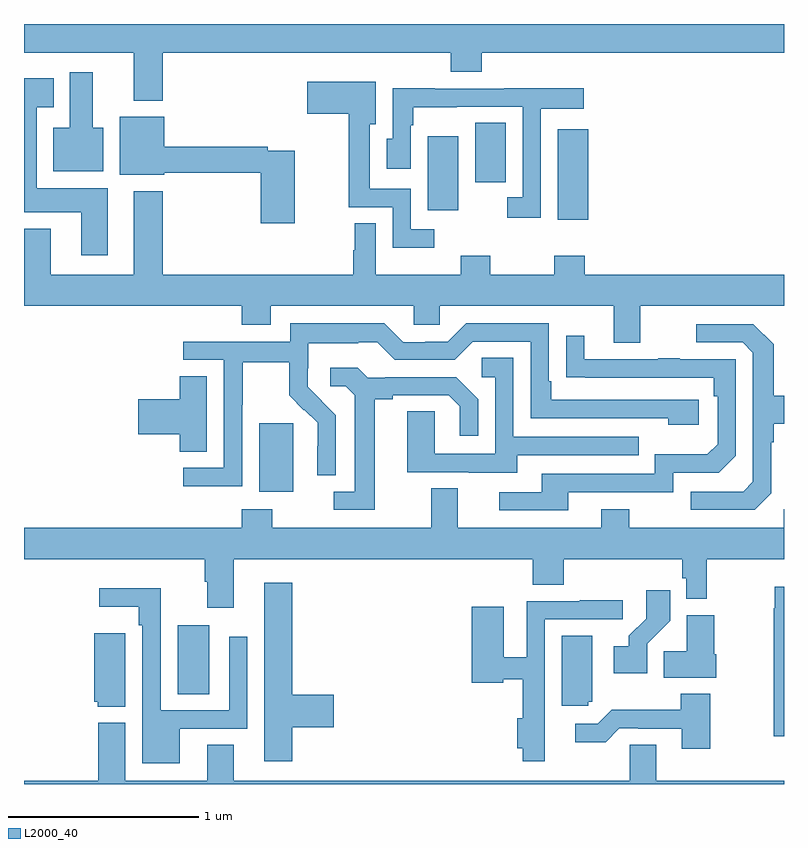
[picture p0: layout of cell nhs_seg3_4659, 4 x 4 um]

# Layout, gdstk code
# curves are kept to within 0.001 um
import gdstk
lib = gdstk.Library(unit=1e-6, precision=1e-09)
def R(c, l, rs):  # rectangles x0, y0, x1, y1
    for r in rs: c.add(gdstk.rectangle(r[:2], r[2:], *l))
def P(c, l, *ps):  # polygons
    for p in ps: c.add(gdstk.Polygon(p, *l))
L2000_40 = (2000, 40)

nhs_seg3_4659 = lib.new_cell('nhs_seg3_4659')
R(nhs_seg3_4659, L2000_40, [(361.808,698.872,361.975,699.235), (362.237,699.938,362.416,700.299), (363.809,701.37,363.97,701.845), (363.125,701.42,363.286,701.809), (363.374,701.568,363.535,701.879)])
P(nhs_seg3_4659, L2000_40, [(361.73,702.248),(363.245,702.248),(363.245,702.149),(363.41,702.149),(363.41,702.248),(365,702.248),(365,702.4),(361,702.4),(361,702.248),(361.577,702.248),(361.577,701.996),(361.73,701.996)],
  [(361.417,701.854),(361.363,701.854),(361.363,702.145),(361.241,702.145),(361.241,701.854),(361.154,701.854),(361.154,701.624),(361.417,701.624)],
  [(361.441,701.536),(361.066,701.536),(361.066,701.963),(361.156,701.963),(361.156,702.115),(361,702.115),(361,701.408),(361.301,701.408),(361.301,701.184),(361.441,701.184)],
  [(363.16,701.319),(363.036,701.319),(363.036,701.532),(362.821,701.532),(362.821,701.873),(362.851,701.873),(362.851,702.097),(362.49,702.097),(362.49,701.927),(362.71,701.927),(362.71,701.436),(362.94,701.436),(362.94,701.222),(363.16,701.222)],
  [(363.72,701.954),(363.946,701.954),(363.946,702.062),(363.527,702.062),(363.527,702.06),(363.161,702.06),(363.161,702.062),(362.94,702.062),(362.94,701.796),(362.909,701.796),(362.909,701.637),(363.036,701.637),(363.036,701.867),(363.049,701.867),(363.049,701.963),(363.278,701.963),(363.278,701.964),(363.624,701.964),(363.624,701.487),(363.543,701.487),(363.543,701.379),(363.72,701.379)],
  [(362.424,701.733),(362.282,701.733),(362.282,701.753),(361.738,701.753),(361.738,701.911),(361.505,701.911),(361.505,701.606),(361.738,701.606),(361.738,701.617),(362.246,701.617),(362.246,701.352),(362.424,701.352)],
  [(362.147,700.817),(362.299,700.817),(362.299,700.916),(363.051,700.916),(363.051,700.818),(363.189,700.818),(363.189,700.916),(364.103,700.916),(364.103,700.722),(364.243,700.722),(364.243,700.916),(365,700.916),(365,701.08),(363.95,701.08),(363.95,701.179),(363.79,701.179),(363.79,701.08),(363.453,701.08),(363.453,701.179),(363.298,701.179),(363.298,701.08),(362.851,701.08),(362.851,701.351),(362.74,701.351),(362.74,701.208),(362.733,701.208),(362.733,701.08),(361.73,701.08),(361.73,701.521),(361.577,701.521),(361.577,701.08),(361.141,701.08),(361.141,701.323),(361,701.323),(361,700.916),(362.147,700.916)],
  [(362.148,700.396),(362.151,700.396),(362.151,700.62),(362.395,700.62),(362.395,700.445),(362.472,700.368),(362.475,700.371),(362.546,700.301),(362.546,700.178),(362.544,700.178),(362.544,700.024),(362.64,700.024),(362.64,700.342),(362.494,700.49),(362.494,700.587),(362.496,700.587),(362.496,700.721),(362.759,700.721),(362.759,700.725),(362.859,700.725),(362.952,700.632),(363.267,700.632),(363.363,700.728),(363.666,700.728),(363.666,700.326),(364.391,700.326),(364.391,700.292),(364.552,700.292),(364.552,700.422),(363.775,700.422),(363.775,700.519),(363.762,700.519),(363.762,700.824),(363.327,700.824),(363.231,700.728),(363.113,700.728),(363.113,700.725),(362.997,700.725),(362.897,700.825),(362.4,700.825),(362.4,700.728),(361.839,700.728),(361.839,700.632),(362.052,700.632),(362.052,700.065),(361.839,700.065),(361.839,699.967),(362.148,699.967)],
  [(364.932,699.93),(364.932,700.199),(364.945,700.199),(364.945,700.295),(365,700.295),(365,700.443),(364.945,700.443),(364.945,700.715),(364.839,700.821),(364.539,700.821),(364.539,700.725),(364.782,700.725),(364.836,700.671),(364.836,699.99),(364.785,699.939),(364.509,699.939),(364.509,699.843),(364.845,699.843)],
  [(363.865,699.936),(364.416,699.936),(364.416,700.038),(364.656,700.038),(364.746,700.128),(364.746,700.635),(364.451,700.635),(364.451,700.64),(364.339,700.64),(364.339,700.635),(363.949,700.635),(363.949,700.759),(363.853,700.759),(363.853,700.54),(364.63,700.539),(364.63,700.442),(364.65,700.442),(364.65,700.188),(364.597,700.135),(364.32,700.135),(364.32,700.032),(363.725,700.032),(363.725,699.936),(363.501,699.936),(363.501,699.84),(363.865,699.84)],
  [(363.595,700.131),(364.235,700.131),(364.235,700.227),(363.576,700.227),(363.576,700.643),(363.408,700.643),(363.408,700.542),(363.48,700.542),(363.48,700.137),(363.162,700.137),(363.162,700.361),(363.017,700.361),(363.017,700.041),(363.341,700.041),(363.341,700.037),(363.595,700.037)],
  [(362.845,700.424),(362.941,700.424),(362.941,700.446),(363.236,700.446),(363.293,700.389),(363.293,700.233),(363.39,700.233),(363.39,700.426),(363.274,700.542),(362.902,700.542),(362.902,700.539),(362.808,700.539),(362.756,700.591),(362.613,700.591),(362.613,700.494),(362.694,700.494),(362.741,700.447),(362.741,699.939),(362.631,699.939),(362.631,699.843),(362.845,699.843)],
  [(361.963,700.547),(361.82,700.547),(361.82,700.424),(361.602,700.424),(361.602,700.241),(361.82,700.241),(361.82,700.15),(361.963,700.15)],
  [(362.104,699.584),(363.677,699.584),(363.677,699.448),(363.842,699.448),(363.842,699.584),(364.465,699.584),(364.465,699.483),(364.485,699.483),(364.485,699.374),(364.594,699.374),(364.594,699.584),(365,699.584),(365,699.847),(364.998,699.847),(364.998,699.748),(364.185,699.748),(364.185,699.847),(364.037,699.847),(364.037,699.748),(363.283,699.748),(363.283,699.956),(363.143,699.956),(363.143,699.748),(362.307,699.748),(362.307,699.847),(362.147,699.847),(362.147,699.748),(361,699.748),(361,699.584),(361.952,699.584),(361.952,699.464),(361.964,699.464),(361.964,699.327),(362.104,699.327)],
  [(362.411,698.699),(362.629,698.699),(362.629,698.87),(362.411,698.87),(362.411,699.46),(362.264,699.46),(362.264,698.52),(362.411,698.52)],
  [(365,699.439),(364.952,699.439),(364.952,699.326),(364.945,699.326),(364.945,698.652),(365,698.652)],
  [(361.819,698.691),(362.175,698.691),(362.175,699.175),(362.079,699.175),(362.079,698.787),(361.719,698.787),(361.719,699.43),(361.395,699.43),(361.395,699.332),(361.603,699.332),(361.603,699.236),(361.623,699.236),(361.623,698.51),(361.819,698.51)],
  [(364.281,699.139),(364.4,699.258),(364.4,699.421),(364.275,699.421),(364.275,699.269),(364.184,699.179),(364.184,699.124),(364.104,699.124),(364.104,698.984),(364.281,698.984)],
  [(363.742,698.742),(363.741,698.742),(363.741,699.267),(364.15,699.267),(364.15,699.366),(363.925,699.366),(363.925,699.363),(363.645,699.363),(363.645,699.068),(363.526,699.068),(363.526,699.334),(363.356,699.334),(363.356,698.932),(363.522,698.932),(363.522,698.951),(363.625,698.951),(363.625,698.746),(363.596,698.746),(363.596,698.588),(363.625,698.588),(363.625,698.52),(363.742,698.52)],
  [(364.644,699.084),(364.632,699.084),(364.632,699.289),(364.487,699.289),(364.487,699.098),(364.366,699.098),(364.366,698.96),(364.644,698.96)],
  [(361.534,699.193),(361.37,699.193),(361.37,698.832),(361.389,698.832),(361.389,698.807),(361.534,698.807)],
  [(363.969,698.832),(363.991,698.832),(363.991,699.181),(363.83,699.181),(363.83,698.811),(363.969,698.811)],
  [(364.611,698.875),(364.456,698.875),(364.456,698.791),(364.093,698.791),(364.02,698.718),(363.9,698.718),(363.9,698.621),(364.061,698.621),(364.134,698.694),(364.234,698.694),(364.234,698.691),(364.463,698.691),(364.463,698.586),(364.611,698.586)],
  [(365,698.416),(364.327,698.416),(364.327,698.606),(364.188,698.606),(364.188,698.416),(362.104,698.416),(362.104,698.606),(361.964,698.606),(361.964,698.416),(361.534,698.416),(361.534,698.722),(361.391,698.722),(361.391,698.416),(361,698.416),(361,698.4),(365,698.4)])

lib.write_gds('nhs_seg3_4659.gds')
